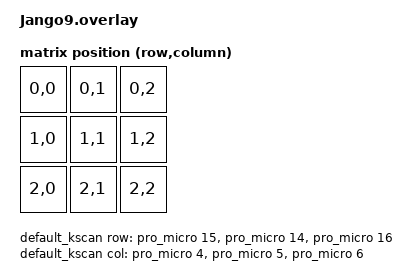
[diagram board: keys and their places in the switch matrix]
#define ZMK_POINTING_DEFAULT_MOVE_VAL 1500  // default: 600
#define ZMK_POINTING_DEFAULT_SCRL_VAL 20    // default: 10
#include <dt-bindings/zmk/pointing.h>
#include <dt-bindings/zmk/matrix_transform.h>
#include <dt-bindings/led/led.h>


&pinctrl {
    spi3_default: spi3_default {
        group1 {
            psels = <NRF_PSEL(SPIM_MOSI, 0, 6)>;
        };
    };

    spi3_sleep: spi3_sleep {
        group1 {
            psels = <NRF_PSEL(SPIM_MOSI, 0, 6)>;
            low-power-enable;
        };
    };
};

&spi3 {
    compatible = "nordic,nrf-spim";
    status = "okay";

    pinctrl-0 = <&spi3_default>;
    pinctrl-1 = <&spi3_sleep>;
    pinctrl-names = "default", "sleep";

    led_strip: ws2812@0 {
        compatible = "worldsemi,ws2812-spi";

        /* SPI */
        reg = <0>; /* ignored, but necessary for SPI bindings */
        spi-max-frequency = <4000000>;

        /* WS2812 */
        chain-length = <9>; /* arbitrary; change at will */
        spi-one-frame = <0x70>;
        spi-zero-frame = <0x40>;

        color-mapping = <LED_COLOR_ID_GREEN LED_COLOR_ID_RED LED_COLOR_ID_BLUE>;
    };
};

/ {
    anti_idle {
        compatible = "zmk,anti-idle-generic";
        interval-ms = <60000>; // How often to send actions (ms)
        bindings = <&mmv MOVE_X(1000) &mmv MOVE_X(-1000)>; // Actions to perform (e.g., mouse move)
        tap_ms = <40>;   // Duration of each action (ms)
        wait_ms = <200>; // Delay between actions (ms)
    };
};

/ {
    chosen {
        zmk,kscan = &default_kscan;
        zmk,matrix_transform = &default_transform;
        zmk,underglow = &led_strip;
    };

   behaviors {
    studio_unlock: studio_unlock {
      compatible = "zmk,behavior-reset";
      #binding-cells = <0>;
      };
   };

   default_kscan: kscan {
      compatible = "zmk,kscan-gpio-matrix";
      diode-direction = "row2col";
      wakeup-source;

      row-gpios = <&pro_micro 15 GPIO_PULL_UP>,
                  <&pro_micro 14 GPIO_PULL_UP>,
                  <&pro_micro 16 GPIO_PULL_UP>;

      col-gpios = <&pro_micro 4 (GPIO_ACTIVE_HIGH | GPIO_PULL_DOWN)>,
                  <&pro_micro 5 (GPIO_ACTIVE_HIGH | GPIO_PULL_DOWN)>,
                  <&pro_micro 6 (GPIO_ACTIVE_HIGH | GPIO_PULL_DOWN)>;

      debounce-press-ms = <5>;
      debounce-release-ms = <5>;
   };

   default_transform: matrix_transform {
        compatible = "zmk,matrix-transform";
        columns = <3>;
        rows = <3>;
        map = <
        //  Key 1 | Key 2 | Key 3
            RC(0,0) RC(0,1) RC(0,2)
        //  Key 4 | Key 5 | Key 6
            RC(1,0) RC(1,1) RC(1,2)
        //  Key 7 | Key 8 | Key 9
            RC(2,0) RC(2,1) RC(2,2)
        >;
   };
   led0: led_0 {
        status = "disabled";
    };
};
